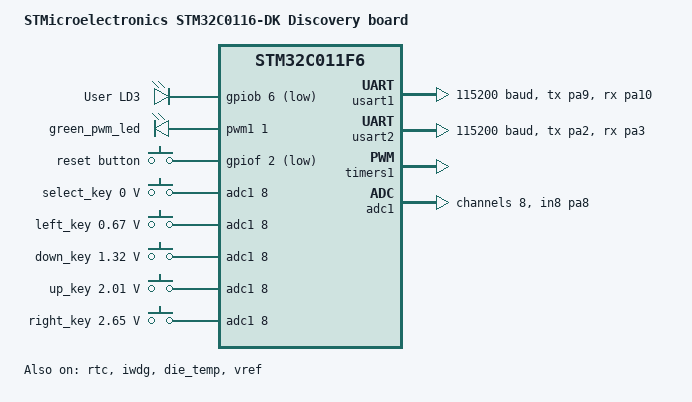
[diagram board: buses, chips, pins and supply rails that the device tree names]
/*
 * Copyright (c) 2024 Kickmaker
 *
 * SPDX-License-Identifier: Apache-2.0
 */

/dts-v1/;
#include <st/c0/stm32c011X6.dtsi>
#include <st/c0/stm32c011f(4-6)ux-pinctrl.dtsi>
#include <zephyr/dt-bindings/input/input-event-codes.h>

/ {
	model = "STMicroelectronics STM32C0116-DK Discovery board";
	compatible = "st,stm32c011f6-dk";

	chosen {
		zephyr,console = &usart1;
		zephyr,shell-uart = &usart1;
		zephyr,sram = &sram0;
		zephyr,flash = &flash0;
	};

	leds: leds {
		compatible = "gpio-leds";

		green_led_3: led_3 {
			gpios = <&gpiob 6 GPIO_ACTIVE_LOW>;
			label = "User LD3";
		};
	};

	pwmleds {
		compatible = "pwm-leds";

		green_pwm_led: green_pwm_led {
			pwms = <&pwm1 1 PWM_MSEC(20) PWM_POLARITY_NORMAL>;
		};
	};

	gpio_keys {
		compatible = "gpio-keys";

		reset_button: button {
			label = "reset button";
			gpios = <&gpiof 2 GPIO_ACTIVE_LOW>;
			status = "okay";
			zephyr,code = <INPUT_KEY_0>;
		};
	};

	adc-keys {
		compatible = "adc-keys";
		io-channels = <&adc1 8>;
		keyup-threshold-mv = <3300>;

		select_key {
			press-thresholds-mv = <0>;
			zephyr,code = <INPUT_KEY_ENTER>;
		};

		left_key {
			press-thresholds-mv = <670>;
			zephyr,code = <INPUT_KEY_LEFT>;
		};

		down_key {
			press-thresholds-mv = <1320>;
			zephyr,code = <INPUT_KEY_DOWN>;
		};

		up_key {
			press-thresholds-mv = <2010>;
			zephyr,code = <INPUT_KEY_UP>;
		};

		right_key {
			press-thresholds-mv = <2650>;
			zephyr,code = <INPUT_KEY_RIGHT>;
		};
	};

	aliases {
		led0 = &green_led_3;
		pwm-led0 = &green_pwm_led;
		sw0 = &reset_button;
		watchdog0 = &iwdg;
		die-temp0 = &die_temp;
		volt-sensor0 = &vref;
	};
};

&clk_hsi {
	status = "okay";
};

&rcc {
	clocks = <&clk_hsi>;
	clock-frequency = <DT_FREQ_M(48)>;
	ahb-prescaler = <1>;
	apb1-prescaler = <1>;
};

&pinctrl {
	remap-pa11;
	remap-pa12;
};

&usart1 {
	pinctrl-0 = <&usart1_tx_pa9 &usart1_rx_pa10>;
	pinctrl-names = "default";
	current-speed = <115200>;
	status = "okay";
};

&usart2 {
	pinctrl-0 = <&usart2_tx_pa2 &usart2_rx_pa3>;
	pinctrl-names = "default";
	current-speed = <115200>;
	status = "okay";
};

&rtc {
	clocks = <&rcc STM32_CLOCK(APB1, 10)>,
		 <&rcc STM32_SRC_LSE RTC_SEL(1)>;
	status = "okay";
};

&iwdg {
	status = "okay";
};

&timers1 {
	st,prescaler = <10000>;
	status = "okay";

	pwm1: pwm {
		pinctrl-0 = <&tim1_ch3_pb6>;
		pinctrl-names = "default";
		status = "okay";
	};
};

&adc1 {
	pinctrl-0 = <&adc1_in8_pa8>;
	pinctrl-names = "default";
	st,adc-clock-source = "SYNC";
	st,adc-prescaler = <2>;
	status = "okay";

	#address-cells = <1>;
	#size-cells = <0>;

	channel@8 {
		reg = <0x8>;
		zephyr,gain = "ADC_GAIN_1";
		zephyr,reference = "ADC_REF_INTERNAL";
		zephyr,acquisition-time = <ADC_ACQ_TIME_DEFAULT>;
		zephyr,resolution = <12>;
		zephyr,vref-mv = <3300>;
	};
};

&die_temp {
	status = "okay";
};

&vref {
	status = "okay";
};

&dma1 {
	status = "okay";
};

&dmamux1 {
	status = "okay";
};
